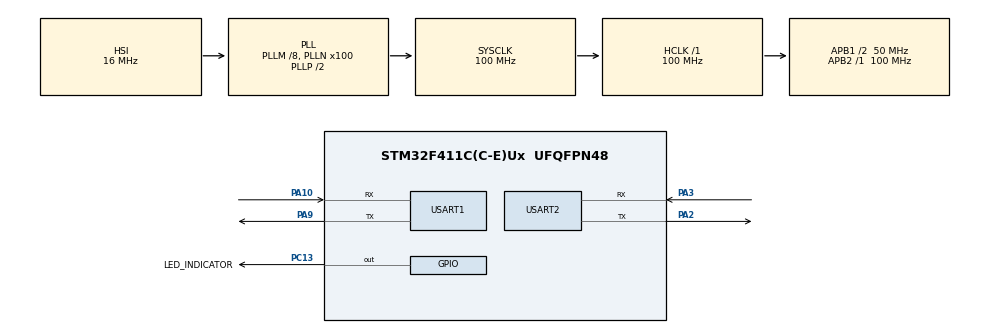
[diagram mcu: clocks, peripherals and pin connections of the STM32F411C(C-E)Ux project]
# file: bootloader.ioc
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Mcu.Family=STM32F4
Mcu.Name=STM32F411C(C-E)Ux
Mcu.Package=UFQFPN48
NVIC.PriorityGroup=NVIC_PRIORITYGROUP_4
NVIC.USART2_IRQn=true\:0\:0\:false\:false\:true\:true\:true\:true
PA10.Mode=Asynchronous
PA10.Signal=USART1_RX
PA13.Mode=Serial_Wire
PA13.Signal=SYS_JTMS-SWDIO
PA14.Mode=Serial_Wire
PA14.Signal=SYS_JTCK-SWCLK
PA2.Mode=Asynchronous
PA2.Signal=USART2_TX
PA3.Mode=Asynchronous
PA3.Signal=USART2_RX
PA9.Mode=Asynchronous
PA9.Signal=USART1_TX
PC13-ANTI_TAMP.GPIO_Label=LED_INDICATOR
PC13-ANTI_TAMP.GPIO_PuPd=GPIO_PULLDOWN
PC13-ANTI_TAMP.Signal=GPIO_Output
ProjectManager.HeapSize=0x200
ProjectManager.StackSize=0x400
ProjectManager.TargetToolchain=STM32CubeIDE
RCC.48MHZClocksFreq_Value=50000000
RCC.AHBFreq_Value=100000000
RCC.APB1CLKDivider=RCC_HCLK_DIV2
RCC.APB1Freq_Value=50000000
RCC.APB1TimFreq_Value=100000000
RCC.APB2Freq_Value=100000000
RCC.APB2TimFreq_Value=100000000
RCC.CortexFreq_Value=100000000
RCC.HCLKFreq_Value=100000000
RCC.HSE_VALUE=25000000
RCC.HSI_VALUE=16000000
RCC.LSE_VALUE=32768
RCC.PLLM=8
RCC.PLLN=100
RCC.SYSCLKFreq_VALUE=100000000
RCC.SYSCLKSource=RCC_SYSCLKSOURCE_PLLCLK
RCC.VCOOutputFreq_Value=200000000
USART1.VirtualMode=VM_ASYNC
USART2.VirtualMode=VM_ASYNC
board=custom

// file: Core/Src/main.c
/* USER CODE BEGIN Header */
/**
 ******************************************************************************
 * @file           : main.c
 * @brief          : Main program body
 ******************************************************************************
 * @attention
 *
 * Copyright (c) 2026 STMicroelectronics.
 * All rights reserved.
 *
 * This software is licensed under terms that can be found in the LICENSE file
 * in the root directory of this software component.
 * If no LICENSE file comes with this software, it is provided AS-IS.
 *
 ******************************************************************************
 */
/* USER CODE END Header */
#include "main.h"

/* USER CODE BEGIN Includes */
#include "bl_jump.h"
#include "bl_update.h"
#include "bl_verify.h"
#include "custom_logger.h"
#include "flash/operations.h"
#include <stdbool.h>

/* USER CODE END Includes */

UART_HandleTypeDef huart1;
UART_HandleTypeDef huart2;

void SystemClock_Config(void);
static void MX_GPIO_Init(void);
static void MX_USART1_UART_Init(void);
static void MX_USART2_UART_Init(void);

int main(void) {

  /* MCU Configuration--------------------------------------------------------*/

  /* Reset of all peripherals, Initializes the Flash interface and the Systick.
   */
  HAL_Init();

  /* Configure the system clock */
  SystemClock_Config();

  /* Initialize all configured peripherals */
  MX_GPIO_Init();
  MX_USART1_UART_Init();
  MX_USART2_UART_Init();
  /* USER CODE BEGIN 2 */

  custom_logger_init(&huart1);
  custom_logger_log("[BOOTy]: Entering bootloader.\r\n");

  bool boot_update = bl_check_for_update();

  if (boot_update) {
    /* new version available */
    if (bl_apply_update()) {
      custom_logger_log("[BOOTy]: Swap successfull\n");
      /* Im not clearing out the firmware, saving it as backup in case main app
       * fails */
      // bl_clear_update_sector();
      // custom_logger_log("[BOOTy]: Update sector cleared.Removed firmware from
      // " "update sector\r\n");
    } else {
      custom_logger_log("[BOOTy]: Swap NOT!!!! successfull\n");
    }
  }

  custom_logger_log("[BOOTy]: Verifying app..\r\n");
  enum verify_result_t res =
      bl_verify_app((const struct app_header_t *)APP_HEADER_ADDR);
  if (res != VERIFY_OK) {
    custom_logger_log("[BOOTy]: Verification failed: %d\r\n", res);

    /* this section here is fallback section, this would have to be moved
     * someplace else*/
    /* logic is as follows: if there is anything in the update sector i want to
     * check that and if its valid i want to jump to it, otherwise we are in
     * hard fault blinking led and i dont have any other way to recover i guess
     */
    if (get_update_header()->magic == APP_MAGIC_CONSTANT && bl_apply_update()) {
      custom_logger_log("[BOOTy]: Swap successfull to an older version.\n");
    } else {
      custom_logger_log("[BOOTy]: Couldn't verify older app version. Stuck in "
                        "bootloader. Please update manually.\n");
      while (1) {
        HAL_GPIO_TogglePin(LED_INDICATOR_GPIO_Port, LED_INDICATOR_Pin);
        HAL_Delay(2000);
      }
    }
  }

  custom_logger_log(
      "[BOOTy]: Application validated successfully, jumping to app\r\n");
  bl_jump_to_app();

  /* Should never reach here */

  /* USER CODE END 2 */

  /* Infinite loop */
  while (1) {

  }
}

void SystemClock_Config(void) {
  RCC_OscInitTypeDef RCC_OscInitStruct = {0};
  RCC_ClkInitTypeDef RCC_ClkInitStruct = {0};

  /** Configure the main internal regulator output voltage
   */
  __HAL_RCC_PWR_CLK_ENABLE();
  __HAL_PWR_VOLTAGESCALING_CONFIG(PWR_REGULATOR_VOLTAGE_SCALE1);

  /** Initializes the RCC Oscillators according to the specified parameters
   * in the RCC_OscInitTypeDef structure.
   */
  RCC_OscInitStruct.OscillatorType = RCC_OSCILLATORTYPE_HSI;
  RCC_OscInitStruct.HSIState = RCC_HSI_ON;
  RCC_OscInitStruct.HSICalibrationValue = RCC_HSICALIBRATION_DEFAULT;
  RCC_OscInitStruct.PLL.PLLState = RCC_PLL_ON;
  RCC_OscInitStruct.PLL.PLLSource = RCC_PLLSOURCE_HSI;
  RCC_OscInitStruct.PLL.PLLM = 8;
  RCC_OscInitStruct.PLL.PLLN = 100;
  RCC_OscInitStruct.PLL.PLLP = RCC_PLLP_DIV2;
  RCC_OscInitStruct.PLL.PLLQ = 4;
  if (HAL_RCC_OscConfig(&RCC_OscInitStruct) != HAL_OK) {
    Error_Handler();
  }

  /** Initializes the CPU, AHB and APB buses clocks
   */
  RCC_ClkInitStruct.ClockType = RCC_CLOCKTYPE_HCLK | RCC_CLOCKTYPE_SYSCLK |
                                RCC_CLOCKTYPE_PCLK1 | RCC_CLOCKTYPE_PCLK2;
  RCC_ClkInitStruct.SYSCLKSource = RCC_SYSCLKSOURCE_PLLCLK;
  RCC_ClkInitStruct.AHBCLKDivider = RCC_SYSCLK_DIV1;
  RCC_ClkInitStruct.APB1CLKDivider = RCC_HCLK_DIV2;
  RCC_ClkInitStruct.APB2CLKDivider = RCC_HCLK_DIV1;

  if (HAL_RCC_ClockConfig(&RCC_ClkInitStruct, FLASH_LATENCY_3) != HAL_OK) {
    Error_Handler();
  }
}

static void MX_USART1_UART_Init(void) {

  huart1.Instance = USART1;
  huart1.Init.BaudRate = 115200;
  huart1.Init.WordLength = UART_WORDLENGTH_8B;
  huart1.Init.StopBits = UART_STOPBITS_1;
  huart1.Init.Parity = UART_PARITY_NONE;
  huart1.Init.Mode = UART_MODE_TX_RX;
  huart1.Init.HwFlowCtl = UART_HWCONTROL_NONE;
  huart1.Init.OverSampling = UART_OVERSAMPLING_16;
  if (HAL_UART_Init(&huart1) != HAL_OK) {
    Error_Handler();
  }
}

static void MX_USART2_UART_Init(void) {

  huart2.Instance = USART2;
  huart2.Init.BaudRate = 115200;
  huart2.Init.WordLength = UART_WORDLENGTH_8B;
  huart2.Init.StopBits = UART_STOPBITS_1;
  huart2.Init.Parity = UART_PARITY_NONE;
  huart2.Init.Mode = UART_MODE_TX_RX;
  huart2.Init.HwFlowCtl = UART_HWCONTROL_NONE;
  huart2.Init.OverSampling = UART_OVERSAMPLING_16;
  if (HAL_UART_Init(&huart2) != HAL_OK) {
    Error_Handler();
  }
}

static void MX_GPIO_Init(void) {
  GPIO_InitTypeDef GPIO_InitStruct = {0};

  /* GPIO Ports Clock Enable */
  __HAL_RCC_GPIOC_CLK_ENABLE();
  __HAL_RCC_GPIOA_CLK_ENABLE();

  /*Configure GPIO pin Output Level */
  HAL_GPIO_WritePin(LED_INDICATOR_GPIO_Port, LED_INDICATOR_Pin, GPIO_PIN_RESET);

  /*Configure GPIO pin : LED_INDICATOR_Pin */
  GPIO_InitStruct.Pin = LED_INDICATOR_Pin;
  GPIO_InitStruct.Mode = GPIO_MODE_OUTPUT_PP;
  GPIO_InitStruct.Pull = GPIO_PULLDOWN;
  GPIO_InitStruct.Speed = GPIO_SPEED_FREQ_LOW;
  HAL_GPIO_Init(LED_INDICATOR_GPIO_Port, &GPIO_InitStruct);

}

void Error_Handler(void) {
  __disable_irq();
  while (1) {
  }
}
#ifdef USE_FULL_ASSERT
/**
 * @brief  Reports the name of the source file and the source line number
 *         where the assert_param error has occurred.
 * @param  file: pointer to the source file name
 * @param  line: assert_param error line source number
 * @retval None
 */
void assert_failed(uint8_t *file, uint32_t line) {
  /* USER CODE BEGIN 6 */
  /* User can add his own implementation to report the file name and line
     number, ex: printf("Wrong parameters value: file %s on line %d\r\n", file,
     line) */
  /* USER CODE END 6 */
}
#endif /* USE_FULL_ASSERT */
